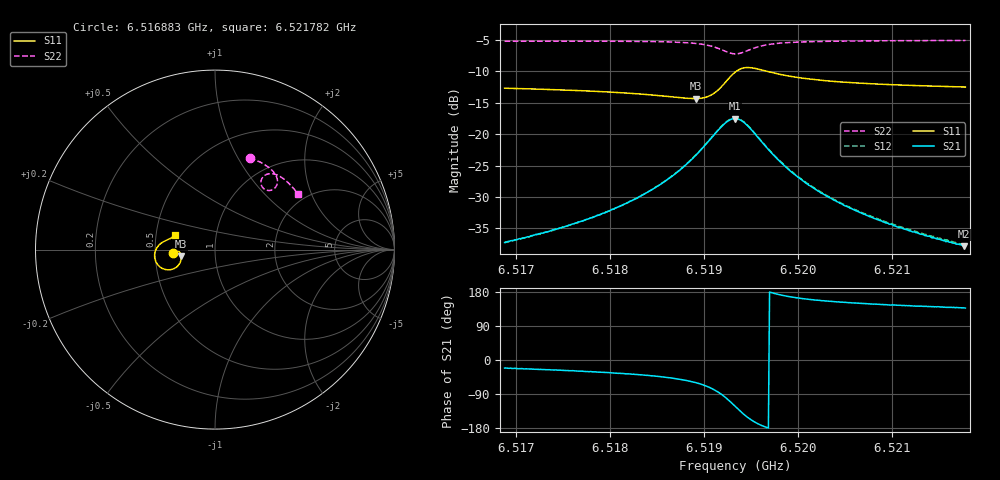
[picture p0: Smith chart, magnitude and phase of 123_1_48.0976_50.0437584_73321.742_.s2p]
#  HZ  S  RI  R  50.00
! Rohde & Schwarz Vector Network Analyzer
! Rohde-Schwarz,ZNB20-2Port,1311601062101988,3.16
! Created: UTC 12/23/2023, 3:46:59 AM
! freq[Hz]  re:S11  im:S11  re:S21  im:S21  re:S12  im:S12  re:S22  im:S22
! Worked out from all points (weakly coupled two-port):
!   401 points, 6.516883 GHz to 6.521782 GHz, reference 50 ohm
!   highest |S21| = -17.52 dB at 6.519333 GHz (marker M1); lowest = -37.8 dB at 6.52177 GHz (marker M2)
!   lowest |S11| = -14.3 dB at 6.518916 GHz (marker M3), VSWR 1.47, Z = 34.1 - j2.59 ohm
!   |S11| at or under -10 dB: start of sweep to 6.519346 GHz; 6.519672 GHz to end of sweep
!   |S22| runs from -7.2 to -5.1 dB; largest |S21 - S12| = 0.0042
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6.5168832e9  -0.2313 -0.0193  0.0128 -0.00499  0.0129 -0.00446  0.1951 0.5123
6.5173731e9  -0.2261 -0.0121  0.0153 -0.00752  0.0154 -0.00694  0.2314 0.4973
6.5177037e9  -0.2213 -0.00812  0.0177 -0.00999  0.0179 -0.00948  0.2558 0.4854
6.5181691e9  -0.2124 -0.00575  0.0225 -0.0166  0.0231 -0.0157  0.2907 0.4639
6.5185242e9  -0.2022 -0.00961  0.0284 -0.027  0.0292 -0.0261  0.3181 0.4414
6.5187447e9  -0.194 -0.0193  0.0325 -0.0401  0.0341 -0.0392  0.335 0.4207
6.5189161e9  -0.1883 -0.0366  0.0342 -0.0586  0.0362 -0.058  0.3458 0.397
6.5190141e9  -0.1884 -0.0537  0.0311 -0.0753  0.0336 -0.0748  0.348 0.3782
6.5190998e9  -0.1953 -0.0745  0.0218 -0.0943  0.0246 -0.0941  0.3437 0.3584
6.5192346e9  -0.2365 -0.1091  -0.0204 -0.1219  -0.017 -0.1233  0.3122 0.3307
6.5193325e9  -0.2921 -0.1054  -0.0702 -0.113  -0.0674 -0.1159  0.2742 0.3376
6.5193938e9  -0.3208 -0.0818  -0.0932 -0.0892  -0.0913 -0.0927  0.2589 0.3575
6.519455e9  -0.3348 -0.051  -0.1022 -0.061  -0.101 -0.0644  0.2562 0.3805
6.519553e9  -0.3326 -0.00873  -0.0956 -0.0251  -0.0956 -0.0282  0.2702 0.4074
6.5196632e9  -0.3167 0.0199  -0.0792 -0.00348  -0.0797 -0.00574  0.2924 0.4207
6.5198959e9  -0.2871 0.0443  -0.0517 0.0111  -0.0526 0.00975  0.3309 0.4208
6.5201531e9  -0.2674 0.0539  -0.0353 0.0135  -0.0361 0.0125  0.3596 0.409
6.5205082e9  -0.2513 0.0606  -0.0237 0.0125  -0.0243 0.0121  0.3885 0.3892
6.5209736e9  -0.2386 0.0675  -0.0158 0.011  -0.0165 0.0106  0.4185 0.362
6.5214512e9  -0.2291 0.0743  -0.0115 0.00954  -0.0121 0.00937  0.4442 0.3329
6.5217696e9  -0.2239 0.0788  -0.00947 0.00868  -0.00997 0.00863  0.4595 0.3133
6.5217819e9  -0.2235 0.0787  -0.00945 0.00878  -0.00997 0.00858  0.46 0.3124
